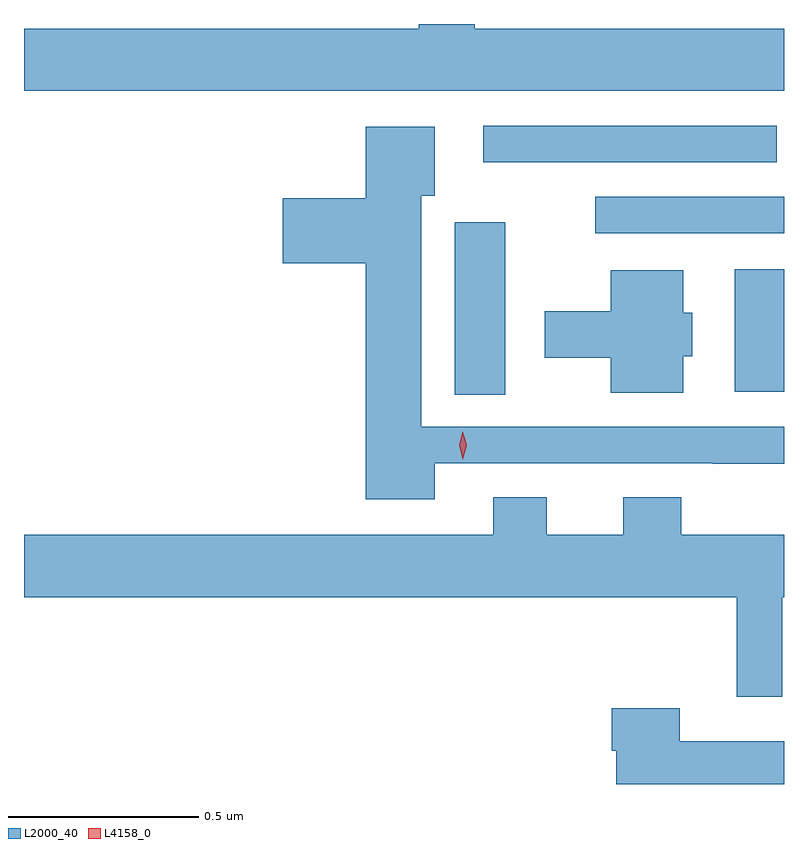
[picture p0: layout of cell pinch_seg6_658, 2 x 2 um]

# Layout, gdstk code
import gdstk
lib = gdstk.Library(unit=1e-6, precision=1e-09)
def R(c, l, rs):  # rectangles x0, y0, x1, y1
    for r in rs: c.add(gdstk.rectangle(r[:2], r[2:], *l))
def P(c, l, *ps):  # polygons
    for p in ps: c.add(gdstk.Polygon(p, *l))
L2000_40 = (2000, 40)
L4158_0 = (4158, 0)

pinch_seg6_658 = lib.new_cell('pinch_seg6_658')
R(pinch_seg6_658, L2000_40, [(391.136,946.537,391.27,946.99), (391.874,946.544,392.003,946.867), (391.506,946.962,392.003,947.058), (391.212,947.148,391.984,947.244)])
P(pinch_seg6_658, L2000_40, [(392.003,947.5),(391.189,947.5),(391.189,947.512),(391.042,947.512),(391.042,947.5),(390.003,947.5),(390.003,947.336),(392.003,947.336)],
  [(391.084,946.356),(391.816,946.356),(391.816,946.355),(392.003,946.355),(392.003,946.452),(391.048,946.452),(391.048,947.06),(391.084,947.06),(391.084,947.242),(390.902,947.242),(390.902,947.053),(390.684,947.053),(390.684,946.883),(390.902,946.883),(390.902,946.262),(391.084,946.262)],
  [(391.738,946.638),(391.762,946.638),(391.762,946.752),(391.738,946.752),(391.738,946.864),(391.547,946.864),(391.547,946.756),(391.374,946.756),(391.374,946.634),(391.547,946.634),(391.547,946.541),(391.738,946.541)],
  [(391.998,946.004),(392.003,946.004),(392.003,946.168),(391.733,946.168),(391.733,946.267),(391.58,946.267),(391.58,946.168),(391.378,946.168),(391.378,946.267),(391.238,946.267),(391.238,946.168),(390.003,946.168),(390.003,946.004),(391.879,946.004),(391.879,945.741),(391.998,945.741)],
  [(392.003,945.625),(391.728,945.625),(391.728,945.712),(391.55,945.712),(391.55,945.599),(391.562,945.599),(391.562,945.512),(392.003,945.512)])
P(pinch_seg6_658, L4158_0, [(391.158,946.367),(391.158,946.367),(391.148,946.403),(391.158,946.439),(391.158,946.439),(391.158,946.439),(391.168,946.403),(391.158,946.367)])

lib.write_gds('pinch_seg6_658.gds')
